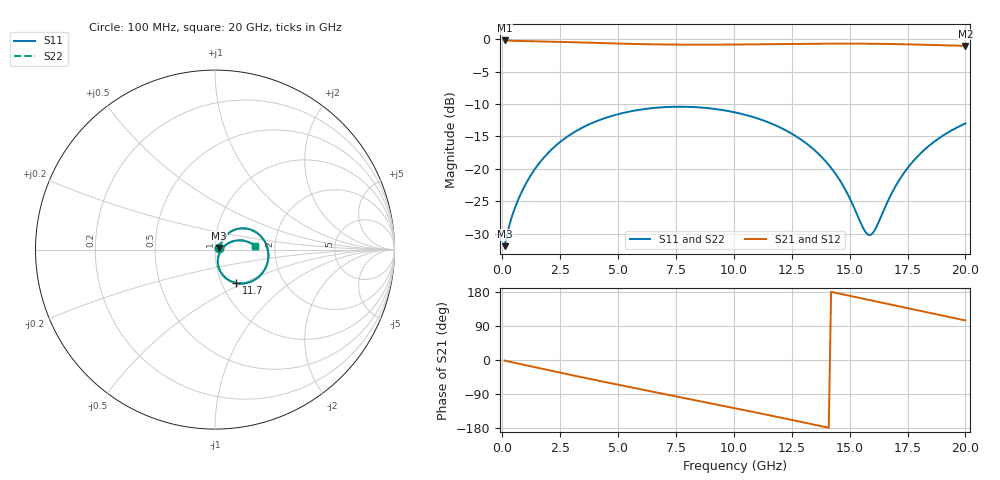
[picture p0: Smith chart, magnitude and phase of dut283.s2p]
! Touchstone file exported from HFSS 2026.1.0
!  File:  C:/ffzhzh/LocalFiles/Ansys_Project_Files/temp_train_TSV_RDL_283_1783086197_37948.aedt
!  Generated:  09:53:25 PM Jul  3, 2026
!  Design:  TSV_RDL
!  Project:  temp_train_TSV_RDL_283_1783086197_37948
! Variables:
!  h_bsmrdl = 5.71um
!  h_ox = 20um
!  h_rdl = 5um
!  h_sub = 52.29um
!  h_tmrdl = 3.55um
!  h_tsv = 52.29um
!  h_via = 3um
!  l_bsmrdl = 319.39um
!  l_sub = 4406.15um
!  l_tmrdl = 731.2um
!  m_sub = 200um
!  pitch = 34.75um
!  r_tsv = 2.27um
!  s_tmrdl = 10um
!  w_bsmrdl = 12.25um
!  w_sub = 500um
!  w_tmrdl = 28.81um
!  x_tsv_center1 = 745.605um
!  x_tsv_center2 = 1077.245um
!  x_tsv_center3 = 1837.255um
!  x_tsv_center4 = 2168.895um
!  x_tsv_center5 = 2928.905um
!  x_tsv_center6 = 3260.545um
# GHz S MA R 50.000000
! Terminal data exported
! Port[1] = TM_RDL1_1_T1
! Port[2] = TM_RDL5_1_T1
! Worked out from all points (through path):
!   200 points, 100 MHz to 20 GHz, reference 50 ohm
!   highest |S21| = -0.21 dB at 100 MHz (marker M1); lowest = -1.0 dB at 20 GHz (marker M2)
!   group delay of S21, straight-line fit = 35.2 ps
!   lowest |S11| = -31.9 dB at 100 MHz (marker M3), VSWR 1.05, Z = 52.4 + j0.904 ohm
!   |S11| at or under -10 dB: start of sweep to end of sweep
!   |S22| runs from -31.9 to -10.4 dB; largest |S21 - S12| = 1.6e-14
!   S11 on the Smith chart (normalised r, x): 100 MHz: 1.05, +0.02; 11.7 GHz: 1.17, -0.46; 20 GHz: 1.57, +0.07
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0.1  0.02542 19.8  0.9763 -1.5  0.9763 -1.5  0.02542 19.8
! Gamma 0 0 0 0
! Port Impedance 50 0 50 0
0.3  0.03648 38.2  0.9728 -4.3  0.9728 -4.3  0.03648 38.2
0.6  0.05308 47.6  0.9691 -8.3  0.9691 -8.3  0.05308 47.6
1.3  0.09343 52.4  0.9637 -17.6  0.9637 -17.6  0.09343 52.4
2.3  0.1507 46.2  0.9544 -30.8  0.9544 -30.8  0.1507 46.2
3.5  0.2099 33.9  0.9405 -46.4  0.9405 -46.4  0.2099 33.9
5.1  0.2667 15.9  0.9227 -66.5  0.9227 -66.5  0.2667 15.9
6.8  0.2975 -3.4  0.91 -87.4  0.91 -87.4  0.2974 -3.4
8.4  0.2987 -21.4  0.9058 -106.9  0.9058 -106.9  0.2987 -21.4
10.1  0.2715 -40.3  0.9087 -127.8  0.9087 -127.8  0.2715 -40.3
11.7  0.2207 -57.6  0.9154 -147.9  0.9154 -147.9  0.2206 -57.6
13.4  0.1438 -73.8  0.922 -169.7  0.922 -169.7  0.1437 -73.8
14.5  0.08591 -78.7  0.9237 175.9  0.9237 175.9  0.08586 -78.6
15  0.05975 -74.8  0.9235 169.4  0.9235 169.4  0.05972 -74.7
15.6  0.0346 -50.0  0.9222 161.5  0.9222 161.5  0.03463 -49.9
15.8  0.03113 -32.4  0.9216 158.9  0.9216 158.9  0.03119 -32.3
16.1  0.03411 -4.6  0.9203 154.9  0.9203 154.9  0.0342 -4.5
16.7  0.05891 21.4  0.9171 147.0  0.9171 147.0  0.05901 21.3
17.3  0.09063 25.7  0.913 139.2  0.913 139.2  0.09073 25.6
18  0.1283 23.1  0.9071 130.1  0.9071 130.1  0.1284 23.1
18.9  0.1743 16.0  0.8983 118.4  0.8983 118.4  0.1744 15.9
20  0.224 5.2  0.8867 104.4  0.8867 104.4  0.2241 5.1
